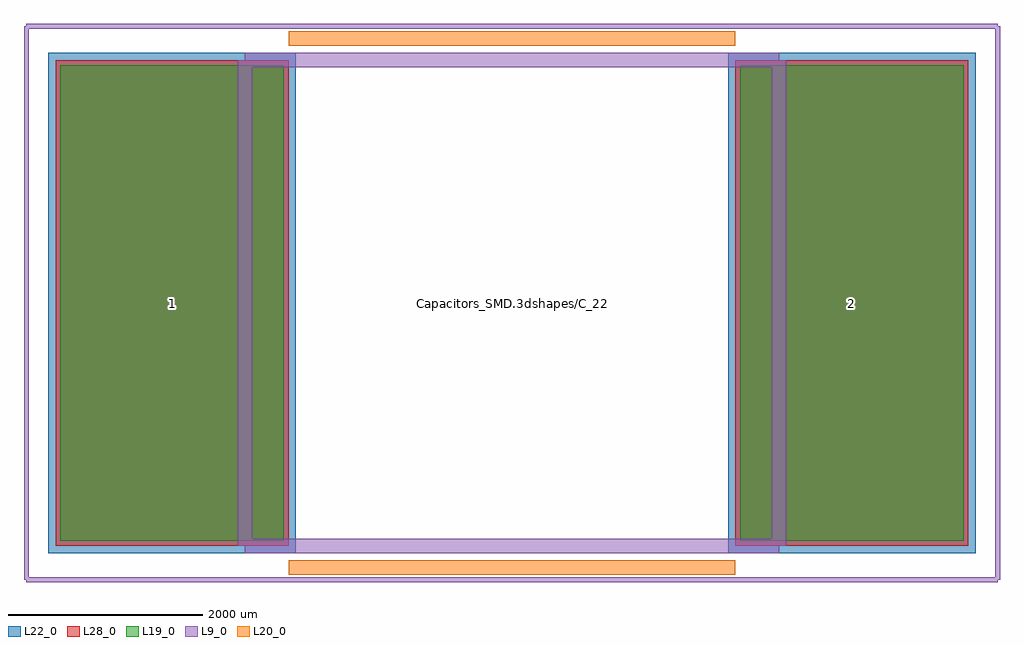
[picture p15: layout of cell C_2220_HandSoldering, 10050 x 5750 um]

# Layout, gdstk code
import gdstk
lib = gdstk.Library(unit=1e-6, precision=1e-09)
def R(c, l, rs):  # rectangles x0, y0, x1, y1
    for r in rs: c.add(gdstk.rectangle(r[:2], r[2:], *l))
L9_0 = (9, 0)
L19_0 = (19, 0)
L20_0 = (20, 0)
L22_0 = (22, 0)
L28_0 = (28, 0)

c_2220_handsoldering = lib.new_cell('C_2220_HandSoldering')
R(c_2220_handsoldering, L19_0, [(-4650,-2450,-2350,2450), (2350,-2450,4650,2450)])
R(c_2220_handsoldering, L22_0, [(-4775,-2575,-2225,2575), (2225,-2575,4775,2575)])
R(c_2220_handsoldering, L28_0, [(-4700,-2500,-2300,2500), (2300,-2500,4700,2500)])
c_2220_handsoldering.add(gdstk.FlexPath([(-2300,-2725),(2300,-2725)], 149.998, ends="flush", simple_path=True, layer=20, datatype=0))  # L20_0
c_2220_handsoldering.add(gdstk.FlexPath([(2300,2725),(-2300,2725)], 149.998, ends="flush", simple_path=True, layer=20, datatype=0))  # L20_0
c_2220_handsoldering.add(gdstk.FlexPath([(5000,2850),(5000,-2850)], 50, ends="flush", simple_path=True, layer=9, datatype=0))  # L9_0
c_2220_handsoldering.add(gdstk.FlexPath([(-5000,2850),(-5000,-2850)], 50, ends="flush", simple_path=True, layer=9, datatype=0))  # L9_0
c_2220_handsoldering.add(gdstk.FlexPath([(-5000,-2850),(5000,-2850)], 50, ends="flush", simple_path=True, layer=9, datatype=0))  # L9_0
c_2220_handsoldering.add(gdstk.FlexPath([(-5000,2850),(5000,2850)], 50, ends="flush", simple_path=True, layer=9, datatype=0))  # L9_0
c_2220_handsoldering.add(gdstk.FlexPath([(-2750,2500),(2750,2500)], 149.998, ends="flush", simple_path=True, layer=9, datatype=0))  # L9_0
c_2220_handsoldering.add(gdstk.FlexPath([(2750,2500),(2750,-2500)], 149.998, ends="flush", simple_path=True, layer=9, datatype=0))  # L9_0
c_2220_handsoldering.add(gdstk.FlexPath([(2750,-2500),(-2750,-2500)], 149.998, ends="flush", simple_path=True, layer=9, datatype=0))  # L9_0
c_2220_handsoldering.add(gdstk.FlexPath([(-2750,-2500),(-2750,2500)], 149.998, ends="flush", simple_path=True, layer=9, datatype=0))  # L9_0
c_2220_handsoldering.add(gdstk.Label('Capacitors_SMD.3dshapes/C_2220_HandSoldering.wrl', (0,0), layer=12, texttype=0))
c_2220_handsoldering.add(gdstk.Label('2', (3500,0), layer=28, texttype=0))
c_2220_handsoldering.add(gdstk.Label('1', (-3500,0), layer=28, texttype=0))
c_2220_handsoldering.add(gdstk.Label('type', (0,-4000), layer=9, texttype=0))
c_2220_handsoldering.add(gdstk.Label('devicename', (0,4000), layer=9, texttype=0))

lib.write_gds('C_2220_HandSoldering.gds')
